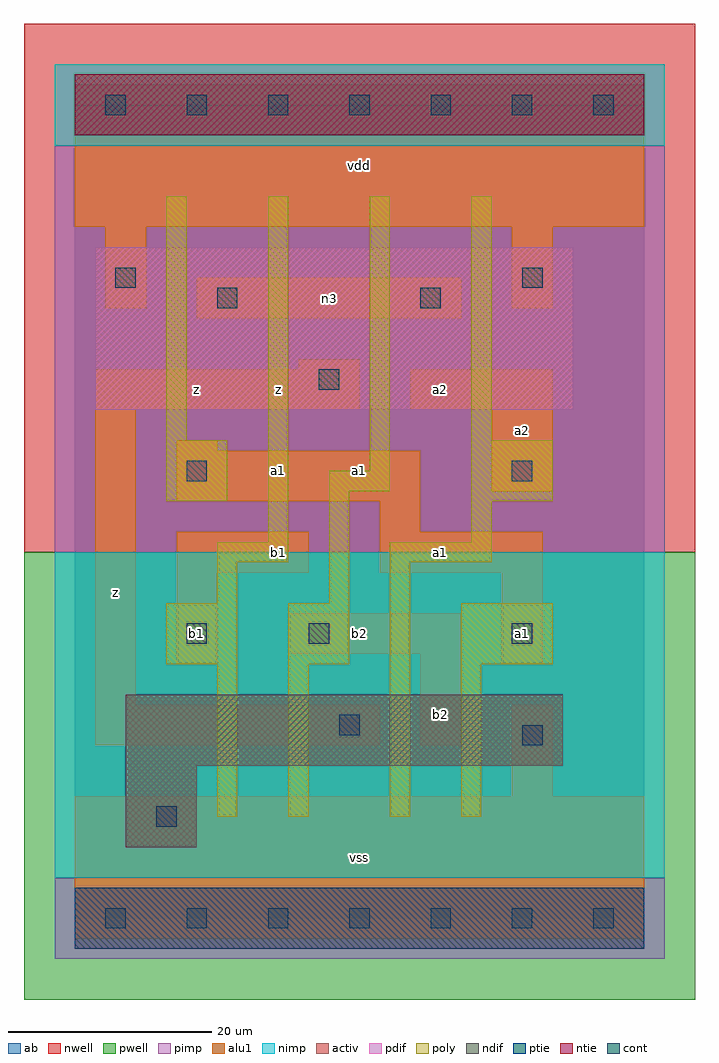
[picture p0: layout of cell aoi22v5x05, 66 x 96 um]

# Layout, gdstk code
import gdstk
lib = gdstk.Library(unit=1e-6, precision=1e-09)
def R(c, l, rs):  # rectangles x0, y0, x1, y1
    for r in rs: c.add(gdstk.rectangle(r[:2], r[2:], *l))
def A(c, l, x, y, w, h, nx, ny, dx, dy):  # array of equal rectangles
    R(c, l, [(x+i*dx, y+j*dy, x+i*dx+w, y+j*dy+h) for i in range(nx) for j in range(ny)])
ndif = (3, 0)
pdif = (4, 0)
ntie = (5, 0)
ptie = (6, 0)
cont = (25, 0)
pwell = (41, 0)
nwell = (42, 0)
activ = (43, 0)
pimp = (44, 0)
nimp = (45, 0)
poly = (46, 0)
alu1 = (49, 0)
ab = (63, 0)

aoi22v5x05 = lib.new_cell('aoi22v5x05')
R(aoi22v5x05, ndif, [(5,7,12,15), (5,15,48,22)])
R(aoi22v5x05, pdif, [(2,50,49,66)])
R(aoi22v5x05, ntie, [(0,77,56,83)])
R(aoi22v5x05, ptie, [(0,-3,56,3)])
A(aoi22v5x05, cont, 3, -1, 2, 2, 7, 2, 8, 80)
R(aoi22v5x05, cont, [(8,9,10,11), (44,17,46,19), (26,18,28,20), (11,27,13,29), (23,27,25,29), (43,27,45,29), (11,43,13,45), (43,43,45,45), (24,52,26,54), (14,60,16,62), (34,60,36,62), (4,62,6,64), (44,62,46,64)])
R(aoi22v5x05, pwell, [(-5,-8,61,36)])
R(aoi22v5x05, nwell, [(-5,36,61,88)])
R(aoi22v5x05, activ, [(0,-3,56,3), (5,7,12,15), (5,15,48,22), (2,50,49,66), (0,77,56,83)])
R(aoi22v5x05, pimp, [(-2,-4,58,4), (-2,36,58,76)])
R(aoi22v5x05, nimp, [(-2,4,58,36), (-2,76,58,84)])
R(aoi22v5x05, poly, [(14,10,16,25), (21,10,23,25), (31,10,33,35), (38,10,40,25), (9,25,16,31), (21,25,27,31), (38,25,47,31), (14,31,16,35), (25,31,27,42), (14,35,21,37), (31,35,41,37), (19,37,21,71), (39,37,41,41), (9,41,15,47), (39,41,47,47), (25,42,31,44), (29,44,31,71), (9,47,11,71), (39,47,41,71)])
R(aoi22v5x05, alu1, [(0,-2,56,12), (43,12,47,21), (2,17,30,21), (34,17,38,26), (2,21,6,50), (10,25,14,34), (42,25,46,34), (21,26,38,30), (10,34,23,38), (30,34,46,38), (30,38,34,41), (10,41,34,46), (41,42,47,50), (10,46,14,47), (2,50,28,54), (33,50,47,54), (22,54,28,55), (12,59,38,63), (3,60,7,68), (43,60,47,68), (0,68,56,82)])
R(aoi22v5x05, ab, [(0,0,56,80)])
aoi22v5x05.add(gdstk.Label('n3', (25,61), layer=49, texttype=0))
aoi22v5x05.add(gdstk.Label('z', (4,32), layer=49, texttype=0))
aoi22v5x05.add(gdstk.Label('b1', (12,28), layer=49, texttype=0))
aoi22v5x05.add(gdstk.Label('b1', (20,36), layer=49, texttype=0))
aoi22v5x05.add(gdstk.Label('a1', (20,44), layer=49, texttype=0))
aoi22v5x05.add(gdstk.Label('z', (12,52), layer=49, texttype=0))
aoi22v5x05.add(gdstk.Label('z', (20,52), layer=49, texttype=0))
aoi22v5x05.add(gdstk.Label('vss', (28,6), layer=49, texttype=0))
aoi22v5x05.add(gdstk.Label('b2', (36,20), layer=49, texttype=0))
aoi22v5x05.add(gdstk.Label('b2', (28,28), layer=49, texttype=0))
aoi22v5x05.add(gdstk.Label('a1', (36,36), layer=49, texttype=0))
aoi22v5x05.add(gdstk.Label('a1', (28,44), layer=49, texttype=0))
aoi22v5x05.add(gdstk.Label('a2', (36,52), layer=49, texttype=0))
aoi22v5x05.add(gdstk.Label('vdd', (28,74), layer=49, texttype=0))
aoi22v5x05.add(gdstk.Label('a1', (44,28), layer=49, texttype=0))
aoi22v5x05.add(gdstk.Label('a2', (44,48), layer=49, texttype=0))

lib.write_gds('aoi22v5x05.gds')
